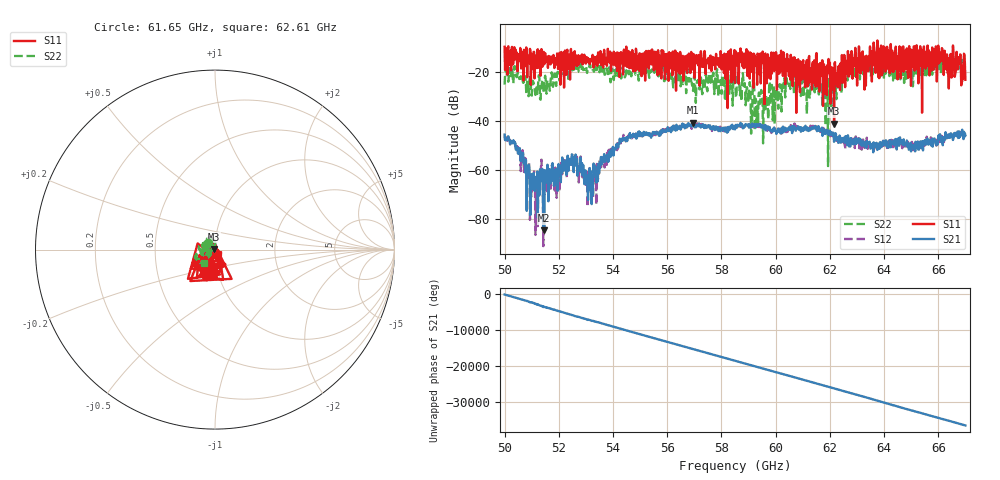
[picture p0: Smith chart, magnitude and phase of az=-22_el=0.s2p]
!Created with skrf (http://scikit-rf.org).
# GHz S RI R 50.0
!freq ReS11 ImS11 ReS21 ImS21 ReS12 ImS12 ReS22 ImS22
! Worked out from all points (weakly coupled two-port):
!   1001 points, 50 GHz to 67 GHz, reference 50 ohm
!   highest |S21| = -40.59 dB at 56.94 GHz (marker M1); lowest = -84.5 dB at 51.46 GHz (marker M2)
!   lowest |S11| = -41.1 dB at 62.16 GHz (marker M3), VSWR 1.02, Z = 49.2 + j0.336 ohm
!   |S11| at or under -10 dB: 50.36 GHz to 54.49 GHz (4.13 GHz wide, 7.88 % of centre); 54.49 GHz to 63.07 GHz (8.582 GHz wide, 14.6 % of centre); 66.01 GHz to 66.54 GHz (533.2 MHz wide, 0.805 % of centre) (the widest 3 of 27)
!   |S22| runs from -58.3 to -13.8 dB; largest |S21 - S12| = 0.0021
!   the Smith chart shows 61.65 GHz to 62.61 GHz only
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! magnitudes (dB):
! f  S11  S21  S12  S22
! 50 GHz  -9.7  -45.5  -45.9  -25.1
! 50.71 GHz  -11.0  -57.3  -60.7  -24.8
! 50.88 GHz  -15.7  -57.8  -60.5  -29.9
! 51.19 GHz  -18.4  -67.1  -69.2  -26.4
! 51.33 GHz  -21.5  -64.6  -63.2  -31.3
! 51.46 GHz  -16.8  -84.5  -70.2  -25.9
! 52.41 GHz  -23.1  -57.6  -55.4  -16.4
! 52.84 GHz  -13.7  -60.7  -56.8  -19.4
! 53.16 GHz  -14.7  -68.3  -63.5  -17.2
! 54.34 GHz  -16.5  -47.2  -46.8  -19.3
! 55.68 GHz  -13.5  -44.9  -44.5  -21.8
! 56.94 GHz  -16.5  -40.6  -41.8  -26.6
! 58.5 GHz  -24.4  -43.4  -42.3  -24.1
! 59.32 GHz  -25.2  -41.5  -41.2  -33.9
! 60.64 GHz  -14.2  -43.6  -44.0  -22.5
! 61.34 GHz  -27.2  -42.9  -43.2  -25.5
! 61.88 GHz  -29.5  -43.9  -43.4  -22.9
! 62.16 GHz  -41.1  -48.5  -46.9  -28.5
! 63.69 GHz  -20.3  -50.5  -50.2  -16.3
! 64.18 GHz  -18.9  -50.6  -48.2  -18.5
! 66.08 GHz  -15.7  -46.6  -48.4  -15.7
! 67 GHz  -23.2  -45.8  -45.0  -15.9
